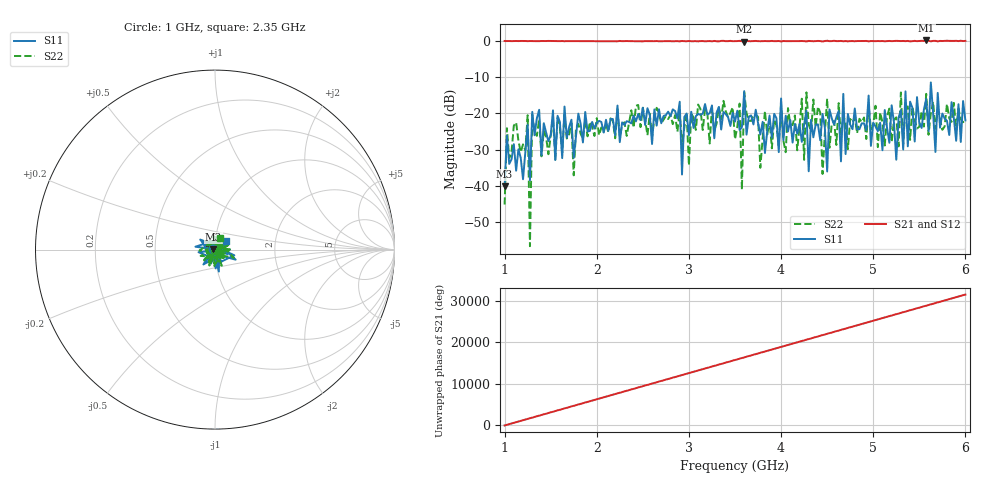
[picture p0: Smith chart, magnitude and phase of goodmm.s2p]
!Keysight Technologies,E5080A,MY55100170,A.11.70.00
!Date: Tuesday, August 20, 2019 22:46:43
!Correction: S11(Full 2 Port(1,2))
!S21(Full 2 Port(1,2))
!S12(Full 2 Port(1,2))
!S22(Full 2 Port(1,2))
!S2P File: Measurements: S11, S21, S12, S22:
# Hz S  dB  R 50
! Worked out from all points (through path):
!   201 points, 1 GHz to 6 GHz, reference 50 ohm
!   highest |S21| = 0.10 dB at 5.575 GHz (marker M1); lowest = -0.3 dB at 3.6 GHz (marker M2)
!   lowest |S11| = -40.0 dB at 1 GHz (marker M3), VSWR 1.02, Z = 49 + j0.0985 ohm
!   |S11| at or under -10 dB: start of sweep to end of sweep
!   |S22| runs from -56.5 to -14.2 dB; largest |S21 - S12| = 0.018
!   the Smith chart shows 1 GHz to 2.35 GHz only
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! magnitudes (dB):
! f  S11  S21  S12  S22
! 1 GHz  -40.0  0.0  0.0  -45.1
! 1.025 GHz  -26.1  -0.1  -0.1  -24.0
! 1.25 GHz  -23.1  -0.1  -0.1  -20.5
! 1.275 GHz  -38.4  0.0  0.0  -56.5
! 1.3 GHz  -19.6  -0.1  -0.1  -20.3
! 1.85 GHz  -28.0  -0.1  -0.1  -27.0
! 2.675 GHz  -18.8  -0.1  -0.1  -20.0
! 2.9 GHz  -16.8  -0.1  -0.1  -19.1
! 2.925 GHz  -36.8  0.0  -0.1  -29.0
! 3.5 GHz  -22.2  -0.1  -0.1  -27.1
! 3.55 GHz  -24.6  0.0  -0.1  -17.3
! 3.575 GHz  -23.8  -0.1  -0.1  -41.0
! 3.6 GHz  -13.8  -0.3  -0.3  -14.2
! 3.775 GHz  -25.8  -0.1  -0.1  -35.0
! 4.35 GHz  -26.6  -0.1  -0.1  -16.2
! 4.45 GHz  -20.1  -0.2  0.0  -36.7
! 4.5 GHz  -36.0  0.0  -0.1  -15.9
! 4.675 GHz  -14.6  -0.1  -0.1  -20.6
! 4.7 GHz  -31.2  -0.1  -0.1  -22.5
! 5.175 GHz  -28.1  0.0  0.0  -18.7
! 5.575 GHz  -16.0  0.1  0.0  -14.6
! 6 GHz  -21.9  0.0  0.0  -22.0
